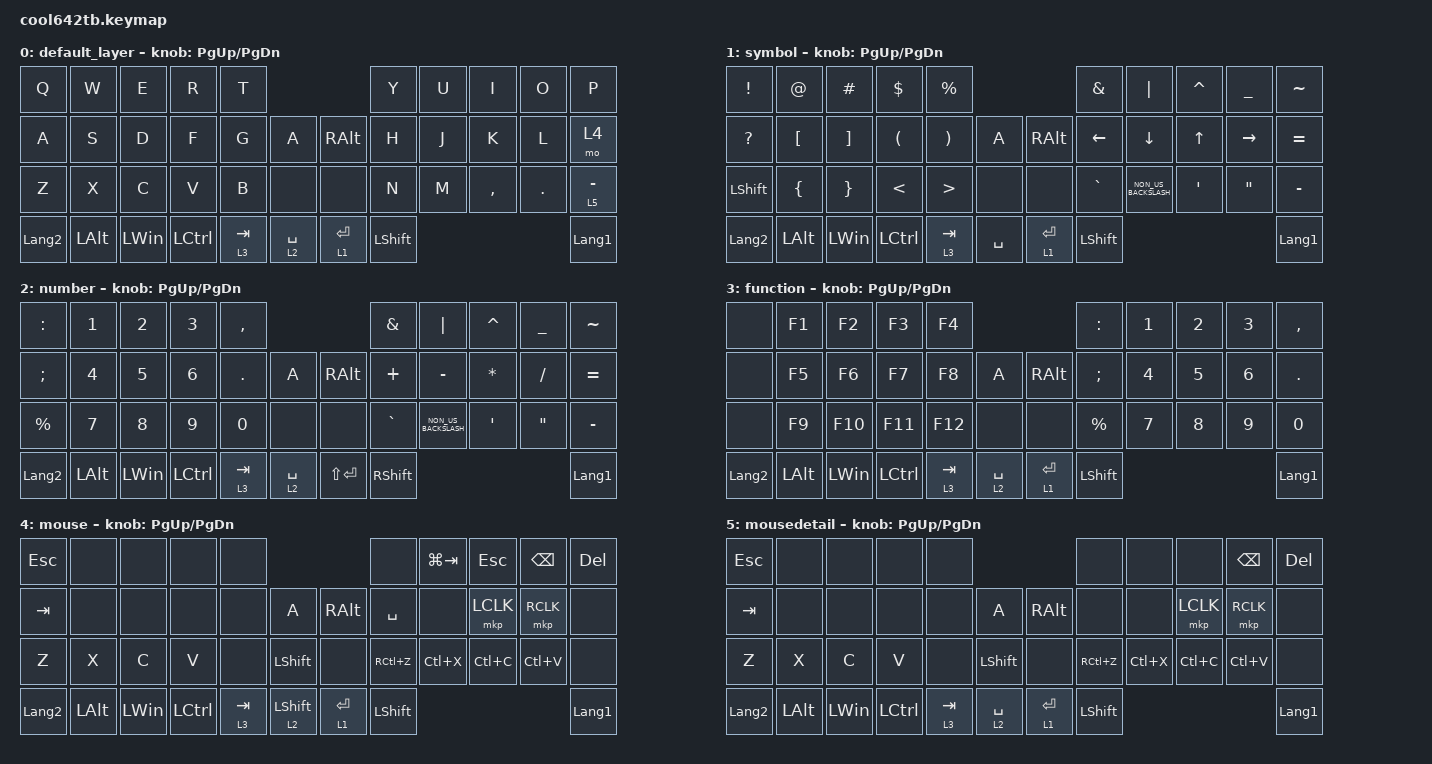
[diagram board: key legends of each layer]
#include <input/processors.dtsi>
#include <behaviors.dtsi>
#include <dt-bindings/zmk/keys.h>
#include <dt-bindings/zmk/pointing.h>

#define FUNCTION 3
#define MOUSE    4
#define MOUSEDETAIL 5

&mt {
    flavor = "balanced";
    quick-tap-ms = <0>;
};

/ {
    combos { compatible = "zmk,combos"; };

    macros {
        to_layer_0: to_layer_0 {
            compatible = "zmk,behavior-macro-one-param";
            #binding-cells = <1>;
            bindings = <&to 0 &macro_param_1to1 &kp MACRO_PLACEHOLDER>;
            label = "TO_LAYER_0";
        };

        win_sunipet: win_sunipet {
            compatible = "zmk,behavior-macro";
            #binding-cells = <0>;
            bindings = <&kp LG(V) &kp END>;
            label = "WIN_SUNIPET";
        };
    };

    behaviors {
        lt_to_layer_0: lt_to_layer_0 {
            compatible = "zmk,behavior-hold-tap";
            label = "LAYER_TAP_TO_0";
            bindings = <&mo>, <&to_layer_0>;

            #binding-cells = <2>;
            tapping-term-ms = <200>;
        };

        scroll_up_down: behavior_sensor_rotate_mouse_wheel_up_down {
            compatible = "zmk,behavior-sensor-rotate";
            #sensor-binding-cells = <0>;
            bindings = <&msc SCRL_UP>, <&msc SCRL_DOWN>;

            tap-ms = <20>;
        };
    };

    keymap {
        compatible = "zmk,keymap";

        default_layer {
            bindings = <
&kp Q           &kp W         &kp E         &kp R      &kp T                                  &kp Y           &kp U  &kp I      &kp O       &kp P
&kp A           &kp S         &kp D         &kp F      &kp G      &kp A        &kp RIGHT_ALT  &kp H           &kp J  &kp K      &kp L       &mo 4
&kp Z           &kp X         &kp C         &kp V      &kp B      &none        &none          &kp N           &kp M  &kp COMMA  &kp PERIOD  &lt 5 MINUS
&kp LANGUAGE_2  &kp LEFT_ALT  &kp LEFT_WIN  &kp LCTRL  &lt 3 TAB  &lt 2 SPACE  &lt 1 ENTER    &kp LEFT_SHIFT                                &kp LANGUAGE_1
            >;

            sensor-bindings = <&inc_dec_kp PAGE_UP PAGE_DOWN>;
        };

        symbol {
            bindings = <
&kp EXCLAMATION  &kp AT_SIGN       &kp HASH           &kp DOLLAR            &kp PERCENT                                      &kp AMPERSAND   &kp PIPE              &kp CARET         &kp UNDERSCORE     &kp TILDE
&kp QUESTION     &kp LEFT_BRACKET  &kp RIGHT_BRACKET  &kp LEFT_PARENTHESIS  &kp RIGHT_PARENTHESIS  &kp A      &kp RIGHT_ALT  &kp LEFT        &kp DOWN              &kp UP_ARROW      &kp RIGHT          &kp EQUAL
&kp LEFT_SHIFT   &kp LEFT_BRACE    &kp RIGHT_BRACE    &kp LESS_THAN         &kp GREATER_THAN       &none      &none          &kp GRAVE       &kp NON_US_BACKSLASH  &kp SINGLE_QUOTE  &kp DOUBLE_QUOTES  &kp MINUS
&kp LANGUAGE_2   &kp LEFT_ALT      &kp LEFT_WIN       &kp LCTRL             &lt 3 TAB              &kp SPACE  &lt 1 ENTER    &kp LEFT_SHIFT                                                             &kp LANGUAGE_1
            >;

            sensor-bindings = <&inc_dec_kp PAGE_UP PAGE_DOWN>;
        };

        number {
            bindings = <
&kp COLON       &kp NUMBER_1  &kp NUMBER_2  &kp NUMBER_3  &kp COMMA                               &kp AMPERSAND    &kp PIPE              &kp CARET     &kp UNDERSCORE     &kp TILDE
&kp SEMI        &kp NUMBER_4  &kp N5        &kp NUMBER_6  &kp PERIOD  &kp A        &kp RIGHT_ALT  &kp PLUS         &kp MINUS             &kp ASTERISK  &kp SLASH          &kp EQUAL
&kp PERCENT     &kp N7        &kp N8        &kp N9        &kp N0      &none        &none          &kp GRAVE        &kp NON_US_BACKSLASH  &kp SQT       &kp DOUBLE_QUOTES  &kp MINUS
&kp LANGUAGE_2  &kp LEFT_ALT  &kp LEFT_WIN  &kp LCTRL     &lt 3 TAB   &lt 2 SPACE  &kp LS(ENTER)  &kp RIGHT_SHIFT                                                         &kp LANGUAGE_1
            >;

            sensor-bindings = <&inc_dec_kp PG_UP PAGE_DOWN>;
        };

        function {
            bindings = <
&none           &kp F1        &kp F2        &kp F3     &kp F4                                 &kp COLON       &kp NUMBER_1  &kp NUMBER_2  &kp NUMBER_3  &kp COMMA
&none           &kp F5        &kp F6        &kp F7     &kp F8     &kp A        &kp RIGHT_ALT  &kp SEMICOLON   &kp NUMBER_4  &kp N5        &kp NUMBER_6  &kp PERIOD
&none           &kp F9        &kp F10       &kp F11    &kp F12    &none        &none          &kp PERCENT     &kp N7        &kp N8        &kp N9        &kp N0
&kp LANGUAGE_2  &kp LEFT_ALT  &kp LEFT_WIN  &kp LCTRL  &lt 3 TAB  &lt 2 SPACE  &lt 1 ENTER    &kp LEFT_SHIFT                                            &kp LANGUAGE_1
            >;

            sensor-bindings = <&inc_dec_kp PG_UP PAGE_DOWN>;
        };

        mouse {
            bindings = <
&kp ESCAPE      &none         &none         &none      &none                                       &none           &kp LG(TAB)  &kp ESCAPE  &kp BACKSPACE  &kp DELETE
&kp TAB         &none         &none         &none      &none      &kp A             &kp RIGHT_ALT  &kp SPACE       &none        &mkp LCLK   &mkp RCLK      &none
&kp Z           &kp X         &kp C         &kp V      &none      &kp LEFT_SHIFT    &none          &kp RC(Z)       &kp LC(X)    &kp LC(C)   &kp LC(V)      &none
&kp LANGUAGE_2  &kp LEFT_ALT  &kp LEFT_WIN  &kp LCTRL  &lt 3 TAB  &lt 2 LEFT_SHIFT  &lt 1 ENTER    &kp LEFT_SHIFT                                          &kp LANGUAGE_1
            >;

            sensor-bindings = <&inc_dec_kp PG_UP PAGE_DOWN>;
        };

        mousedetail {
            bindings = <
&kp ESCAPE      &none         &none         &none      &none                                     &none           &none      &none      &kp BACKSPACE  &kp DELETE
&kp TAB         &none         &none         &none      &none      &kp A           &kp RIGHT_ALT  &none           &none      &mkp LCLK  &mkp RCLK      &none
&kp Z           &kp X         &kp C         &kp V      &none      &kp LEFT_SHIFT  &none          &kp RC(Z)       &kp LC(X)  &kp LC(C)  &kp LC(V)      &none
&kp LANGUAGE_2  &kp LEFT_ALT  &kp LEFT_WIN  &kp LCTRL  &lt 3 TAB  &lt 2 SPACE     &lt 1 ENTER    &kp LEFT_SHIFT                                       &kp LANGUAGE_1
            >;

            sensor-bindings = <&inc_dec_kp PG_UP PAGE_DOWN>;
        };
    };
};

&mmv_input_listener {
    precision_boost {
        layers = <MOUSEDETAIL>;
        input-processors = <&zip_xy_scaler 1 2>;
    };

    fast_boost {
        layers = <FUNCTION>;
        input-processors = <&zip_xy_scaler 3 1>;
    };
};
